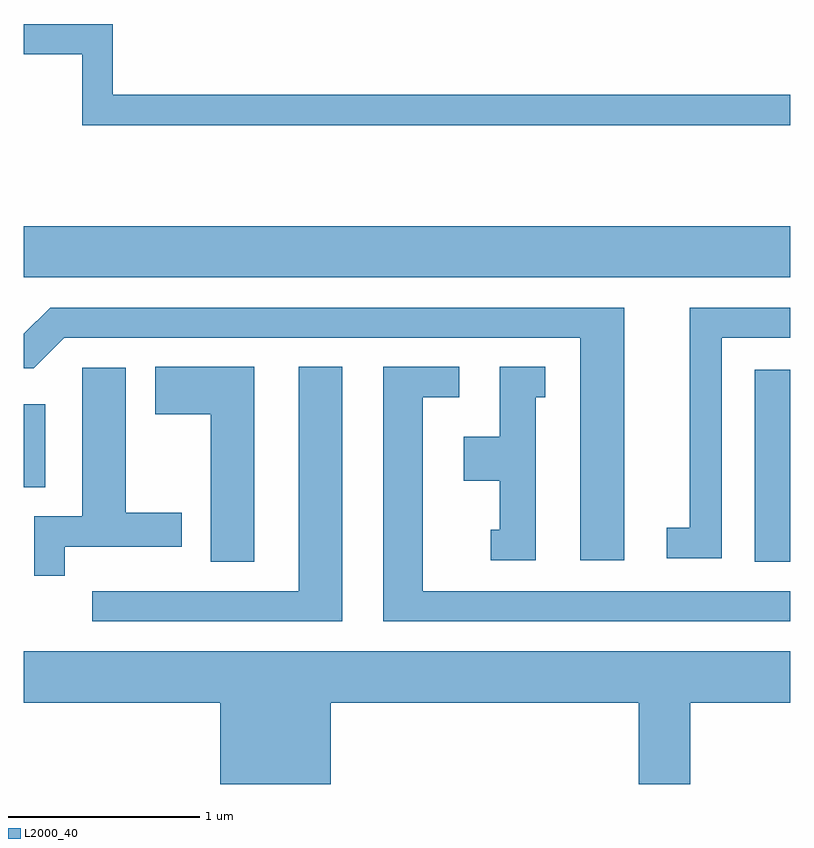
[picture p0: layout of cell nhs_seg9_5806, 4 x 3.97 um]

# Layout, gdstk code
import gdstk
lib = gdstk.Library(unit=1e-6, precision=1e-09)
def R(c, l, rs):  # rectangles x0, y0, x1, y1
    for r in rs: c.add(gdstk.rectangle(r[:2], r[2:], *l))
def P(c, l, *ps):  # polygons
    for p in ps: c.add(gdstk.Polygon(p, *l))
L2000_40 = (2000, 40)

nhs_seg9_5806 = lib.new_cell('nhs_seg9_5806')
R(nhs_seg9_5806, L2000_40, [(359.426,2063.591,359.611,2064.594), (355.611,2063.981,355.724,2064.414), (355.611,2065.076,359.611,2065.344)])
P(nhs_seg9_5806, L2000_40, [(359.611,2066.029),(356.074,2066.029),(356.074,2066.399),(355.611,2066.399),(355.611,2066.241),(355.916,2066.241),(355.916,2065.871),(359.611,2065.871)],
  [(358.744,2064.919),(355.749,2064.919),(355.611,2064.781),(355.611,2064.601),(355.662,2064.601),(355.822,2064.761),(358.516,2064.761),(358.516,2063.601),(358.744,2063.601)],
  [(359.254,2064.761),(359.611,2064.761),(359.611,2064.919),(359.086,2064.919),(359.086,2063.769),(358.968,2063.769),(358.968,2063.611),(359.254,2063.611)],
  [(358.284,2064.451),(358.333,2064.451),(358.333,2064.609),(358.096,2064.609),(358.096,2064.244),(357.906,2064.244),(357.906,2064.016),(358.096,2064.016),(358.096,2063.759),(358.048,2063.759),(358.048,2063.601),(358.284,2063.601)],
  [(359.611,2063.439),(357.694,2063.439),(357.694,2064.451),(357.883,2064.451),(357.883,2064.609),(357.486,2064.609),(357.486,2063.281),(359.611,2063.281)],
  [(357.274,2064.609),(357.046,2064.609),(357.046,2063.439),(355.968,2063.439),(355.968,2063.281),(357.274,2063.281)],
  [(356.814,2064.609),(356.296,2064.609),(356.296,2064.361),(356.586,2064.361),(356.586,2063.591),(356.814,2063.591)],
  [(355.824,2063.671),(356.434,2063.671),(356.434,2063.849),(356.144,2063.849),(356.144,2064.604),(355.916,2064.604),(355.916,2063.829),(355.666,2063.829),(355.666,2063.518),(355.824,2063.518)],
  [(357.214,2062.856),(358.821,2062.856),(358.821,2062.432),(359.089,2062.432),(359.089,2062.856),(359.611,2062.856),(359.611,2063.124),(355.611,2063.124),(355.611,2062.856),(356.636,2062.856),(356.636,2062.432),(357.214,2062.432)])

lib.write_gds('nhs_seg9_5806.gds')
